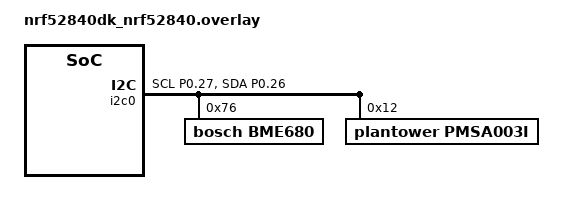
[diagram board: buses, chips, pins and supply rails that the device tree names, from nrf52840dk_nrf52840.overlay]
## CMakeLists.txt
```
cmake_minimum_required(VERSION 3.20.0)
find_package(Zephyr REQUIRED HINTS $ENV{ZEPHYR_BASE})

project(firmware)

target_sources(app PRIVATE src/main.c)
target_sources(app PRIVATE src/sensor_service.c)

add_subdirectory(drivers)
zephyr_include_directories(drivers)
```

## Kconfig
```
source "Kconfig.zephyr"

rsource "drivers/Kconfig"
```

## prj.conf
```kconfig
# Power management 
CONFIG_PM_DEVICE=y
CONFIG_PM_DEVICE_RUNTIME=y
CONFIG_PM_DEVICE_SYSTEM_MANAGED=y

# Logs / Debug

CONFIG_LOG=y
CONFIG_CONSOLE=y

# Peripherals

CONFIG_GPIO=y
CONFIG_I2C=y
CONFIG_SENSOR=y
CONFIG_BME680=y
CONFIG_PMSA003I=y

# Sensor configs

CONFIG_BME680_PRESS_OVER_1X=y

# Bluetooth

CONFIG_BT=y
CONFIG_BT_PERIPHERAL=y
CONFIG_BT_DEVICE_NAME="AirNode"

# Zephyr shell

# CONFIG_SHELL=y
# CONFIG_I2C_SHELL=y
```

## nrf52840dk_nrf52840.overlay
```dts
// To get started, press Ctrl+Space (or Option+Esc) to bring up the completion menu and view the available nodes.

// You can also use the buttons in the sidebar to perform actions on nodes.
// Actions currently available include:

// * Enabling / disabling the node
// * Adding the bus to a bus
// * Removing the node
// * Connecting ADC channels

// For more help, browse the DeviceTree documentation at https://docs.zephyrproject.org/latest/guides/dts/index.html
// You can also visit the nRF DeviceTree extension documentation at https://docs.nordicsemi.com/bundle/nrf-connect-vscode/page/guides/ncs_configure_app.html#devicetree-support-in-the-extension

&i2c0 {
    status = "okay";
    compatible = "nordic,nrf-twim";
    pinctrl-0 = <&i2c0_default>;
    pinctrl-1 = <&i2c0_sleep>;
    pinctrl-names = "default", "sleep";

    bme680: bme680@76 {
        compatible = "bosch,bme680";
        status = "okay";
        reg = <0x76>;
    };

    pmsa003i: pmsa003i@12 {
        compatible = "plantower,pmsa003i";
        status = "okay";
        reg = <0x12>;
    };
    

};

&pinctrl {
    /omit-if-no-ref/ i2c0_default: i2c0_default {
        group1  {
            psels = <NRF_PSEL(TWIM_SCL, 0, 27)>,
                    <NRF_PSEL(TWIM_SDA, 0, 26)>;
        };
    };

    /omit-if-no-ref/ i2c0_sleep: i2c0_sleep {
        group1  {
            psels = <NRF_PSEL(TWIM_SCL, 0, 27)>,
                    <NRF_PSEL(TWIM_SDA, 0, 26)>;
            low-power-enable;
        };
    };
};
```

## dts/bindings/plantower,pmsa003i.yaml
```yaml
title: Digital universal partical concentration sensor PMSA003I (I2C)

compatible: "plantower,pmsa003i"

include: [sensor-device.yaml, i2c-device.yaml]
```

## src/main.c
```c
#include <stdio.h>

#include <zephyr/logging/log.h>
#include <zephyr/drivers/gpio.h>
#include <zephyr/drivers/sensor.h>
#include <zephyr/bluetooth/bluetooth.h>
#include <zephyr/bluetooth/gap.h>
#include <zephyr/bluetooth/conn.h>

#include "sensor_service.h"
#include "pmsa003i/pmsa003i.h"

#define RETRY_DELAY_MS 10000
#define WARM_UP_INTERVAL_MS 10000

#define LED0_NODE DT_ALIAS(led0)
#define I2C_NODE DT_NODELABEL(bme680)
#define I2C_PMSA003I_NODE DT_NODELABEL(pmsa003i)
#define DEVICE_NAME CONFIG_BT_DEVICE_NAME
#define DEVICE_NAME_LEN (sizeof(DEVICE_NAME) - 1)

LOG_MODULE_REGISTER(airnode, LOG_LEVEL_DBG);

static const struct gpio_dt_spec led = GPIO_DT_SPEC_GET(LED0_NODE, gpios);
static const struct device *const dev_i2c = DEVICE_DT_GET(I2C_NODE);
static const pmsa003i_config_t pmsa003i_config = {
    .i2c = I2C_DT_SPEC_GET(I2C_PMSA003I_NODE)};

static uint32_t wake_up_interval = 300000; // Default wake-up interval in milliseconds

static struct sensor_value temp;
static struct sensor_value hum;
static struct sensor_value press;
static pmsa003i_data_t pmsa003i_data_raw;

static struct airnode_readings full_reading;

static const struct bt_data ad[] = {
    BT_DATA_BYTES(BT_DATA_FLAGS, BT_LE_AD_GENERAL),

    BT_DATA(BT_DATA_NAME_COMPLETE, DEVICE_NAME, DEVICE_NAME_LEN),
};

static void ble_restart_adv_handler(struct k_work *work)
{
        int ret;

        ret = bt_le_adv_start(BT_LE_ADV_CONN_FAST_1, ad, ARRAY_SIZE(ad), 0, 0);
        if (ret)
        {
                LOG_ERR("Advertising failed to start (err %d)\n", ret);
                return;
        }
}

K_WORK_DEFINE(ble_restart_work, ble_restart_adv_handler);

void on_disconnected(struct bt_conn *conn, uint8_t reason)
{
        LOG_INF("Disconnected. Reason %d", reason);
        k_work_submit(&ble_restart_work);
}

struct bt_conn_cb connection_callbacks = {
    .disconnected = on_disconnected,

};

static void on_reading_interval_changed(const uint32_t reading_interval_ms)
{
        wake_up_interval = reading_interval_ms;
        LOG_INF("Wake-up interval updated to %u ms", wake_up_interval);
}

int main(void)
{
        int ret;

        ret = bt_enable(NULL);
        if (ret)
        {
                LOG_ERR("Bluetooth init failed (err %d)\n", ret);
                return -1;
        }

        LOG_INF("Bluetooth initialized\n");

        ret = bt_conn_cb_register(&connection_callbacks);
        if (ret)
        {
                LOG_ERR("Connection callback register failed (err %d)", ret);
        }

        ret = bt_le_adv_start(BT_LE_ADV_CONN_FAST_1, ad, ARRAY_SIZE(ad), 0, 0);
        if (ret)
        {
                LOG_ERR("Advertising failed to start (err %d)\n", ret);
                return -1;
        }

        struct sensor_settings_cb settings_callback = {
            .reading_interval_cb = on_reading_interval_changed,
        };

        ret = settings_callback_init(&settings_callback);
        if (ret)
        {
                LOG_ERR("Failed to read settings callback (err %d)", ret);
                return -1;
        }

        LOG_INF("Advertising started %d\n", ret);

        if (!device_is_ready(dev_i2c))
        {
                LOG_ERR("I2C bus for BME680 %s is not ready!", dev_i2c->name);
                return -1;
        }

        ret = pmsa003i_init(&pmsa003i_config);
        if (ret)
        {
                return -1;
        }

        if (!gpio_is_ready_dt(&led))
        {
                return -1;
        }

        ret = gpio_pin_configure_dt(&led, GPIO_OUTPUT_ACTIVE);
        if (ret < 0)
        {
                return -1;
        }
        k_sleep(K_MSEC(WARM_UP_INTERVAL_MS));

        while (1)
        {
                uint32_t uptime = k_uptime_get_32();
                LOG_DBG("Wake up - uptime %u ms", uptime);

                ret = sensor_sample_fetch(dev_i2c);

                if (ret < 0)
                {
                        LOG_ERR("Error fetching data");
                        for (int i = 0; i < 5; i++)
                        {
                                ret = sensor_sample_fetch(dev_i2c);
                                k_sleep(K_MSEC(RETRY_DELAY_MS));
                                if (ret == 0)
                                {
                                        break;
                                }
                        }

                        if (ret < 0)
                        {
                                LOG_ERR("Error Detecting sensor");
                                continue;
                        }
                }

                ret = sensor_channel_get(dev_i2c, SENSOR_CHAN_AMBIENT_TEMP, &temp);

                if (ret < 0)
                {
                        LOG_ERR("Error getting temperature data");
                }
                else
                {
                        LOG_DBG("Temperature is %d,%d", temp.val1, temp.val2);
                }

                ret = sensor_channel_get(dev_i2c, SENSOR_CHAN_HUMIDITY, &hum);

                if (ret < 0)
                {
                        LOG_ERR("Error getting humidity data");
                }
                else
                {
                        LOG_DBG("Humidity is %d,%d", hum.val1, hum.val2);
                }

                ret = sensor_channel_get(dev_i2c, SENSOR_CHAN_PRESS, &press);

                if (ret < 0)
                {
                        LOG_ERR("Error getting pressure data");
                }
                else
                {
                        LOG_DBG("Pressure is %d,%d", press.val1, press.val2);
                }

                ret = pmsa003i_read(&pmsa003i_config, &pmsa003i_data_raw);

                if (ret < 0)
                {
                        LOG_ERR("Error fetching pmsa003i data");
                        for (int i = 0; i < 5; i++)
                        {
                                ret = pmsa003i_read(&pmsa003i_config, &pmsa003i_data_raw);
                                k_sleep(K_MSEC(RETRY_DELAY_MS));
                                if (ret == 0)
                                {
                                        break;
                                }
                        }

                        if (ret < 0)
                        {
                                LOG_ERR("Error data");
                                continue;
                        }
                }

                LOG_INF("data raw %d, %d, %d", pmsa003i_data_raw.pm1_0, pmsa003i_data_raw.pm2_5, pmsa003i_data_raw.pm10_0);

                full_reading.temperature_c = temp.val1 * 100 + temp.val2 / 10000;
                full_reading.humidity_pct = hum.val1 * 100 + hum.val2 / 10000;
                full_reading.pressure_hpa = press.val1 * 10 + press.val2 / 100000;
                full_reading.pm1_0_ugm3 = pmsa003i_data_raw.pm1_0;
                full_reading.pm2_5_ugm3 = pmsa003i_data_raw.pm2_5;
                full_reading.pm10_ugm3 = pmsa003i_data_raw.pm10_0;

                send_sensor_notify(full_reading, TEMPERATURE);
                send_sensor_notify(full_reading, HUMIDITY);
                send_sensor_notify(full_reading, PRESSURE);
                send_sensor_notify(full_reading, PM1_0);
                send_sensor_notify(full_reading, PM2_5);
                send_sensor_notify(full_reading, PM10);

                LOG_DBG("Current reading:");
                LOG_DBG("TEMP: %d.%d °C", (int32_t)full_reading.temperature_c / 100, (int32_t)full_reading.temperature_c % 100);
                LOG_DBG("HUM: %d.%d %%", (int32_t)full_reading.humidity_pct / 100, (int32_t)full_reading.humidity_pct % 100);
                LOG_DBG("PRESS: %d.%d hPa", (int32_t)full_reading.pressure_hpa / 100, (int32_t)full_reading.pressure_hpa % 100);
                LOG_DBG("PM1.0: %d μg/m³", full_reading.pm1_0_ugm3);
                LOG_DBG("PM2.5: %d μg/m³", full_reading.pm2_5_ugm3);
                LOG_DBG("PM10: %d μg/m³", full_reading.pm10_ugm3);

                gpio_pin_toggle_dt(&led);
                // bt_le_adv_stop();
                k_sleep(K_MSEC(wake_up_interval));
        }
}
```

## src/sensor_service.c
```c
#include <zephyr/bluetooth/gatt.h>
#include <zephyr/logging/log.h>

#include "sensor_service.h"

LOG_MODULE_REGISTER(sensor_service, LOG_LEVEL_DBG);

#define MIN_SAMPLING_INTERVAL_MS (1U * 60U * 1000U)
#define MAX_SAMPLING_INTERVAL_MS (30U * 60U * 1000U)

static bool notify_sensor_enabled;
static struct sensor_settings_cb settings_cb;

static void airnode_ccc_sensor_cfg_changed(const struct bt_gatt_attr *attr,
                                           uint16_t value)
{
    notify_sensor_enabled = (value == BT_GATT_CCC_NOTIFY);
}

static ssize_t write_ble_reading_interval(struct bt_conn *conn, const struct bt_gatt_attr *attr, const void *buf,
                                          uint16_t len, uint16_t offset, uint8_t flags)
{
    LOG_DBG("Attribute write, handle: %u, conn: %p", attr->handle, (void *)conn);

    if (len != sizeof(uint32_t))
    {
        LOG_DBG("Sampling Interval: Incorrect data length");
        return BT_GATT_ERR(BT_ATT_ERR_INVALID_ATTRIBUTE_LEN);
    }

    if (offset != 0)
    {
        LOG_DBG("Sampling Interval: Incorrect data offset");
        return BT_GATT_ERR(BT_ATT_ERR_INVALID_OFFSET);
    }

    if (settings_cb.reading_interval_cb)
    {
        // Read the received value
        uint32_t interval_ms = *((uint32_t *)buf);

        if (interval_ms < MIN_SAMPLING_INTERVAL_MS || interval_ms > MAX_SAMPLING_INTERVAL_MS)
        {
            LOG_DBG("Sampling Interval: Value out of bounds");
            return BT_GATT_ERR(BT_ATT_ERR_VALUE_NOT_ALLOWED);
        }

        // Call the application callback function to update the reading interval
        settings_cb.reading_interval_cb(interval_ms);
    }
    else
    {
        LOG_DBG("Sampling Interval: Incorrect value");
        return BT_GATT_ERR(BT_ATT_ERR_VALUE_NOT_ALLOWED);
    }
    return len;
}

BT_GATT_SERVICE_DEFINE(airnode_service,
                       BT_GATT_PRIMARY_SERVICE(BT_UUID_ESS),

                       BT_GATT_CHARACTERISTIC(BT_UUID_TEMPERATURE, BT_GATT_CHRC_NOTIFY, BT_GATT_PERM_READ, NULL, NULL, NULL),

                       BT_GATT_CCC(airnode_ccc_sensor_cfg_changed,
                                   BT_GATT_PERM_READ | BT_GATT_PERM_WRITE),

                       BT_GATT_CHARACTERISTIC(BT_UUID_HUMIDITY, BT_GATT_CHRC_NOTIFY, BT_GATT_PERM_READ, NULL, NULL, NULL),

                       BT_GATT_CCC(airnode_ccc_sensor_cfg_changed,
                                   BT_GATT_PERM_READ | BT_GATT_PERM_WRITE),

                       BT_GATT_CHARACTERISTIC(BT_UUID_PRESSURE, BT_GATT_CHRC_NOTIFY, BT_GATT_PERM_READ, NULL, NULL, NULL),

                       BT_GATT_CCC(airnode_ccc_sensor_cfg_changed,
                                   BT_GATT_PERM_READ | BT_GATT_PERM_WRITE),

                       BT_GATT_CHARACTERISTIC(BT_UUID_GATT_PM1CONC, BT_GATT_CHRC_NOTIFY, BT_GATT_PERM_READ, NULL, NULL, NULL),

                       BT_GATT_CCC(airnode_ccc_sensor_cfg_changed,
                                   BT_GATT_PERM_READ | BT_GATT_PERM_WRITE),

                       BT_GATT_CHARACTERISTIC(BT_UUID_GATT_PM25CONC, BT_GATT_CHRC_NOTIFY, BT_GATT_PERM_READ, NULL, NULL, NULL),

                       BT_GATT_CCC(airnode_ccc_sensor_cfg_changed,
                                   BT_GATT_PERM_READ | BT_GATT_PERM_WRITE),

                       BT_GATT_CHARACTERISTIC(BT_UUID_GATT_PM10CONC, BT_GATT_CHRC_NOTIFY, BT_GATT_PERM_READ, NULL, NULL, NULL),

                       BT_GATT_CCC(airnode_ccc_sensor_cfg_changed,
                                   BT_GATT_PERM_READ | BT_GATT_PERM_WRITE),

                       BT_GATT_CHARACTERISTIC(BT_UUID_SENSOR_SETTINGS, BT_GATT_CHRC_WRITE, BT_GATT_PERM_WRITE, NULL, write_ble_reading_interval, NULL),

);

int settings_callback_init(struct sensor_settings_cb *callbacks)
{
    if (callbacks)
    {
        settings_cb.reading_interval_cb = callbacks->reading_interval_cb;
    }

    return 0;
}

int send_sensor_notify(struct airnode_readings sensor_value, SensorDataType type)
{
    if (!notify_sensor_enabled)
    {
        return -EACCES;
    }

    /** Index 2 is the sensor data notify characteristic.
        Needs to be modified if there are new characteristics added before */

    switch (type)
    {
    case TEMPERATURE:

        return bt_gatt_notify(NULL, &airnode_service.attrs[2],
                              &sensor_value.temperature_c,
                              sizeof(sensor_value.temperature_c));
        break;

    case HUMIDITY:
        return bt_gatt_notify(NULL, &airnode_service.attrs[5],
                              &sensor_value.humidity_pct,
                              sizeof(sensor_value.humidity_pct));
        break;

    case PRESSURE:
        return bt_gatt_notify(NULL, &airnode_service.attrs[8],
                              &sensor_value.pressure_hpa,
                              sizeof(sensor_value.pressure_hpa));
        break;

    case PM1_0:
        return bt_gatt_notify(NULL, &airnode_service.attrs[11],
                              &sensor_value.pm1_0_ugm3,
                              sizeof(sensor_value.pm1_0_ugm3));
        break;

    case PM2_5:
        return bt_gatt_notify(NULL, &airnode_service.attrs[14],
                              &sensor_value.pm2_5_ugm3,
                              sizeof(sensor_value.pm2_5_ugm3));
        break;

    case PM10:
        return bt_gatt_notify(NULL, &airnode_service.attrs[17],
                              &sensor_value.pm10_ugm3,
                              sizeof(sensor_value.pm10_ugm3));
        break;

    default:
        return 0;
        break;
    }
}
```

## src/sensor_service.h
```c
#ifndef SENSOR_SERVICE_H
#define SENSOR_SERVICE_H

#include <zephyr/bluetooth/uuid.h>

struct airnode_readings
{
    int32_t temperature_c;
    int32_t humidity_pct;
    int32_t pressure_hpa;
    uint16_t pm1_0_ugm3;
    uint16_t pm2_5_ugm3;
    uint16_t pm10_ugm3;
};

typedef enum
{
    TEMPERATURE,
    HUMIDITY,
    PRESSURE,
    PM1_0,
    PM2_5,
    PM10
} SensorDataType;

typedef void (*reading_interval_cb_t)(const uint32_t reading_interval_ms);

struct sensor_settings_cb
{
    reading_interval_cb_t reading_interval_cb;
};

/** Value Characteristic UUID - d87f823c-4c33-4ddd-9ac4-4ada6ad5e913 */
#define BT_UUID_SENSOR_SETTINGS_VAL \
    BT_UUID_128_ENCODE(0xd87f823c, 0x4c33, 0x4ddd, 0x9ac4, 0x4ada6ad5e913)

/** Convert the array to a generic UUID */

#define BT_UUID_SENSOR_SETTINGS BT_UUID_DECLARE_128(BT_UUID_SENSOR_SETTINGS_VAL)

int send_sensor_notify(struct airnode_readings sensor_value, SensorDataType type);
int settings_callback_init(struct sensor_settings_cb *callbacks);

#endif // SENSOR_SERVICE_H
```
